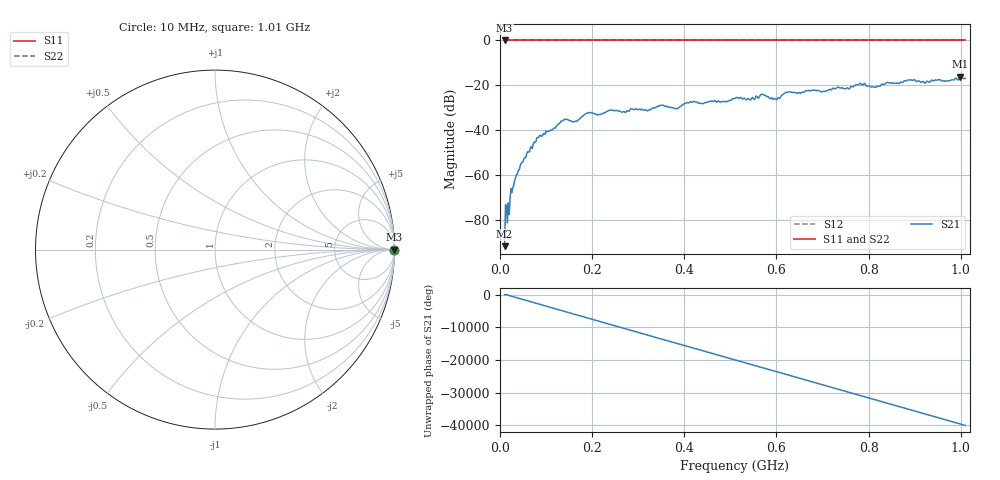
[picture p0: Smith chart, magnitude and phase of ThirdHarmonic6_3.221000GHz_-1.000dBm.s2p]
! 8/17/2025 9:50:10 AM
! C:\ANRITSUVNA\TEMP\TEMP.S2P
! CHANNEL.1
! TR.MEASUREMENT
! RAW.DATA
! RF.CORRECTION.OFF
! AVERAGING.OFF
! IF.BANDWIDTH: 5KHZ
! SWEEPTYPE:  FREQ.SWEEP(Linear)
! Reference Plane Port Info
! PORT:  PORT1  PORT2
! DISTANCE:  0  m  0  m
! TIME:  0  s  0  s
! PHASE.OFFSET:  0  deg.  0  deg.
! LOSS:  0  dB  0  dB
! REF.LOSS:  0  dB  0  dB
! REF.FREQ:  0  Hz  0  Hz
! Power Info
! POWER:  -20  dBm  -20  dBm
! EFF.POWER:  -20  dBm  -20  dBm
! SOURCE.ATTEN:  0  dB  0  dB
! TEST.ATTEN:  0  dB  0  dB
# GHZ S RI R 50.0
! FREQ.GHZ  S11RE  S11IM  S21RE  S21IM  S12RE  S12IM  S22RE  S22IM
!; PortSelection: Port_12
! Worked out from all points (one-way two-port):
!   501 points, 10 MHz to 1.01 GHz, reference 50 ohm
!   highest |S21| = -16.16 dB at 998 MHz (marker M1); lowest = -91.4 dB at 10 MHz (marker M2)
!   lowest |S11| = 0.0 dB at 10 MHz (marker M3)
!   |S11| at or under -10 dB: nowhere
!   |S22| runs from 0.0 to 0.0 dB; largest |S21 - S12| = 1.1
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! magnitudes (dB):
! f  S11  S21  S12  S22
! 10 MHz  0.0  -91.4  0.0  0.0
! 18 MHz  0.0  -72.2  0.0  0.0
! 28 MHz  0.0  -65.3  0.0  0.0
! 44 MHz  0.0  -55.5  0.0  0.0
! 84 MHz  0.0  -43.1  0.0  0.0
! 136 MHz  0.0  -35.7  0.0  0.0
! 162 MHz  0.0  -36.1  0.0  0.0
! 178 MHz  0.0  -33.8  0.0  0.0
! 192 MHz  0.0  -32.1  0.0  0.0
! 322 MHz  0.0  -31.0  0.0  0.0
! 344 MHz  0.0  -29.3  0.0  0.0
! 382 MHz  0.0  -30.2  0.0  0.0
! 416 MHz  0.0  -27.5  0.0  0.0
! 510 MHz  0.0  -25.8  0.0  0.0
! 570 MHz  0.0  -24.0  0.0  0.0
! 596 MHz  0.0  -25.7  0.0  0.0
! 624 MHz  0.0  -23.0  0.0  0.0
! 678 MHz  0.0  -22.2  0.0  0.0
! 814 MHz  0.0  -20.7  0.0  0.0
! 844 MHz  0.0  -18.9  0.0  0.0
! 998 MHz  0.0  -16.2  0.0  0.0
! 1.01 GHz  0.0  -16.9  0.0  0.0
